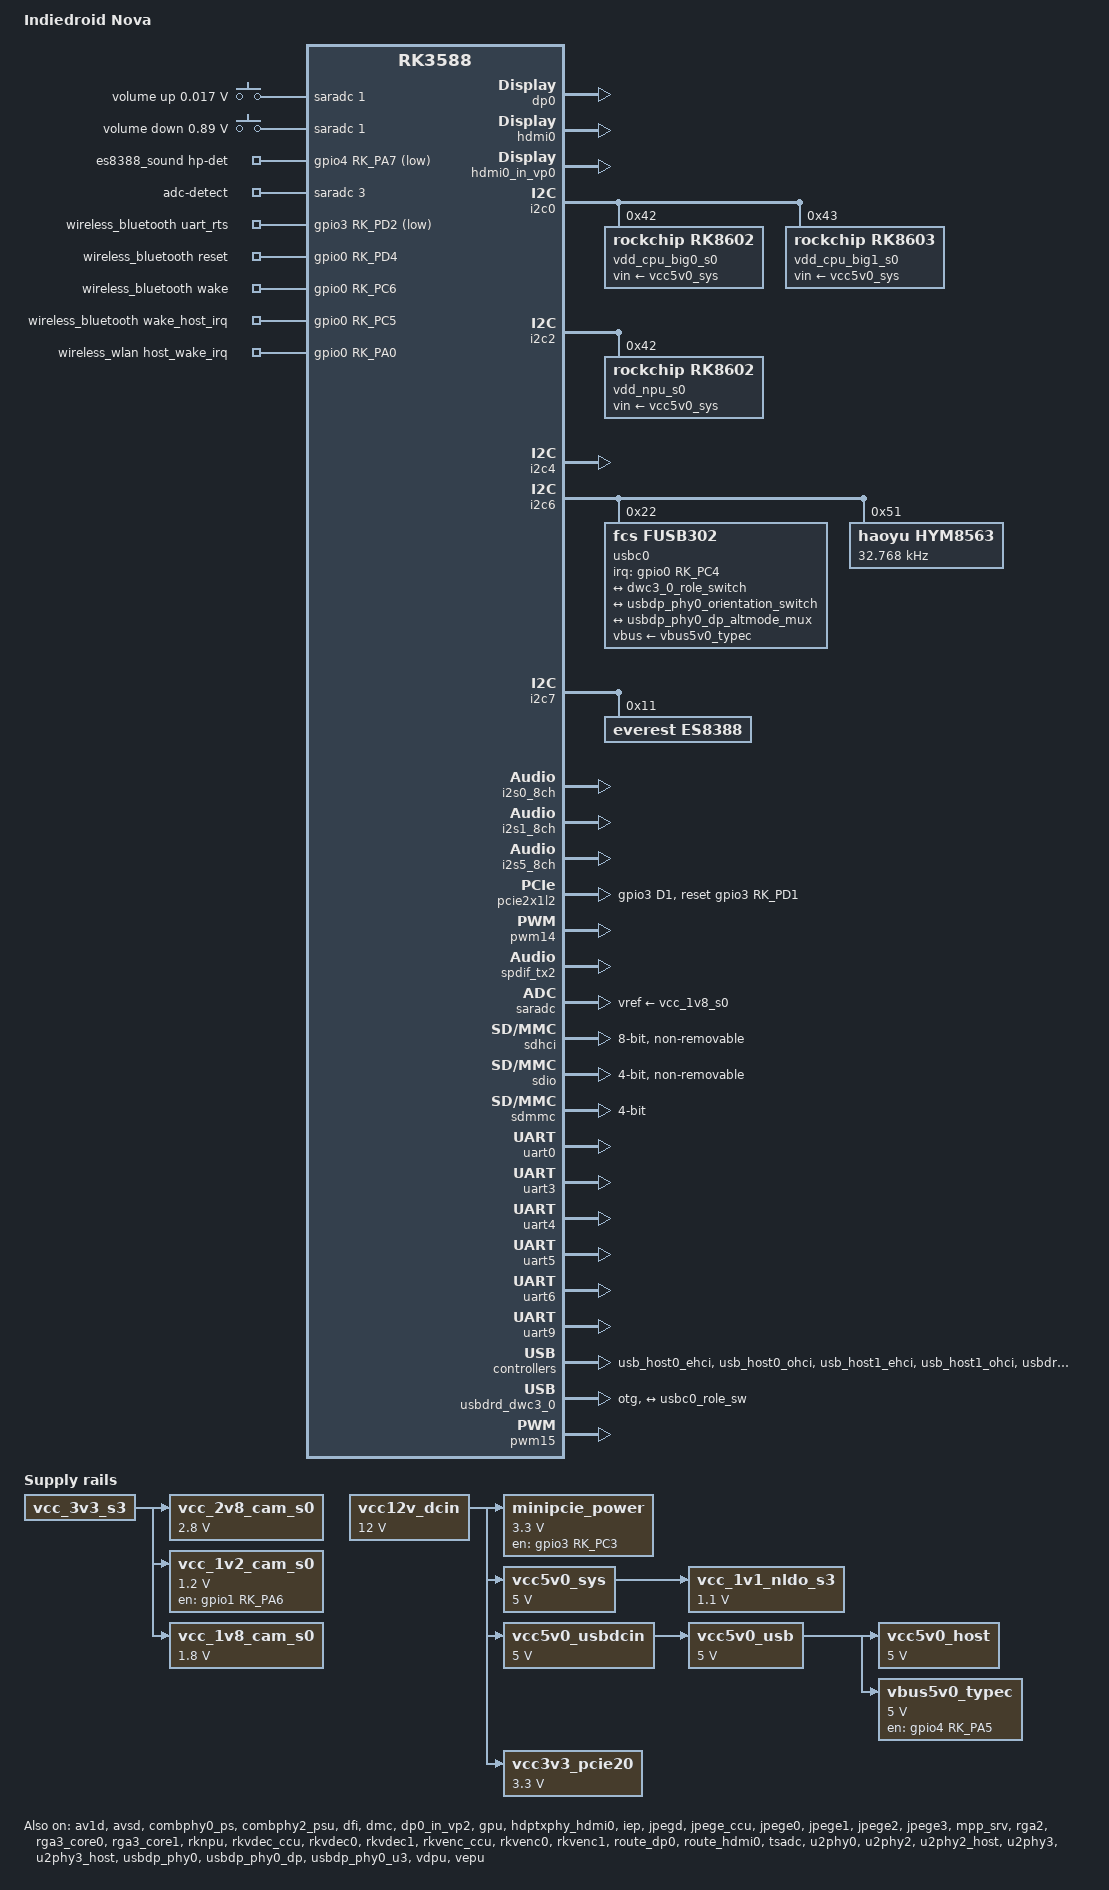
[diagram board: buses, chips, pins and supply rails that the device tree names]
// SPDX-License-Identifier: (GPL-2.0+ OR MIT)
/*
 * Copyright (c) 2021 Rockchip Electronics Co., Ltd.
 *
 */

/dts-v1/;

#include <dt-bindings/gpio/gpio.h>
#include <dt-bindings/pwm/pwm.h>
#include <dt-bindings/pinctrl/rockchip.h>
#include <dt-bindings/input/rk-input.h>
#include <dt-bindings/display/drm_mipi_dsi.h>
#include <dt-bindings/display/rockchip_vop.h>
#include <dt-bindings/sensor-dev.h>
#include "dt-bindings/usb/pd.h"
#include "rk3588s.dtsi"
#include "rk3588-rk806-single.dtsi"
#include "rk3588-linux.dtsi"

/ {
	model = "Indiedroid Nova";
	compatible = "9tripod,rk3588s", "rockchip,rk3588";

	/delete-node/ chosen;

	adc_keys: adc-keys {
		compatible = "adc-keys";
		io-channels = <&saradc 1>;
		io-channel-names = "buttons";
		keyup-threshold-microvolt = <1800000>;
		poll-interval = <100>;

		vol-up-key {
			label = "volume up";
			linux,code = <KEY_VOLUMEUP>;
			press-threshold-microvolt = <17000>;
		};

		vol-down-key {
			label = "volume down";
			linux,code = <KEY_VOLUMEDOWN>;
			press-threshold-microvolt = <890000>;
		};

	};

	es8388_sound: es8388-sound {
		status = "okay";
		compatible = "rockchip,multicodecs-card";
		rockchip,card-name = "rockchip-es8388";
		hp-det-gpio = <&gpio4 RK_PA7 GPIO_ACTIVE_LOW>;
		io-channels = <&saradc 3>;
		io-channel-names = "adc-detect";
		keyup-threshold-microvolt = <1800000>;
		poll-interval = <100>;
		//spk-con-gpio = <&gpio4 RK_PA5 GPIO_ACTIVE_HIGH>;
		//hp-con-gpio = <&gpio4 RK_PA4 GPIO_ACTIVE_HIGH>;
		rockchip,format = "i2s";
		rockchip,mclk-fs = <256>;
		rockchip,cpu = <&i2s0_8ch>;
		rockchip,codec = <&es8388>;
		rockchip,audio-routing =
			"Headphone", "LOUT2",
			"Headphone", "ROUT2",
			"Speaker", "LOUT1",
			"Speaker", "ROUT1",
			"Headphone", "Headphone Power",
			"Headphone", "Headphone Power",
			"Speaker", "Speaker Power",
			"Speaker", "Speaker Power",
			"LINPUT1", "Main Mic",
			"LINPUT2", "Main Mic",
			"RINPUT1", "Headset Mic",
			"RINPUT2", "Headset Mic";
		pinctrl-names = "default";
		pinctrl-0 = <&hp_det>;
		play-pause-key {
			label = "playpause";
			linux,code = <KEY_PLAYPAUSE>;
			press-threshold-microvolt = <2000>;
		};
	};

	hdmi0_sound: hdmi0-sound {
		status = "okay";
		compatible = "rockchip,hdmi";
		rockchip,mclk-fs = <128>;
		rockchip,card-name = "rockchip-hdmi0";
		rockchip,cpu = <&i2s5_8ch>;
		rockchip,codec = <&hdmi0>;
		rockchip,jack-det;
	};

	dp0_sound: dp0-sound {
		status = "okay";
		compatible = "rockchip,hdmi";
		rockchip,card-name= "rockchip-dp0";
		rockchip,mclk-fs = <512>;
		rockchip,cpu = <&spdif_tx2>;
		rockchip,codec = <&dp0 1>;
		rockchip,jack-det;
	};

	minipcie_power: minipcie-power {
		compatible = "regulator-fixed";
		regulator-name = "minipcie_power";
		regulator-min-microvolt = <3300000>;
		regulator-max-microvolt = <3300000>;
		enable-active-high;
		regulator-boot-on;
		regulator-always-on;
		gpios = <&gpio3 RK_PC3 GPIO_ACTIVE_HIGH>;
		vin-supply = <&vcc12v_dcin>;
	};

	test-power {
		status = "okay";
	};

	vcc12v_dcin: vcc12v-dcin {
		compatible = "regulator-fixed";
		regulator-name = "vcc12v_dcin";
		regulator-always-on;
		regulator-boot-on;
		regulator-min-microvolt = <12000000>;
		regulator-max-microvolt = <12000000>;
	};

	vcc5v0_host: vcc5v0-host {
		compatible = "regulator-fixed";
		regulator-name = "vcc5v0_host";
		regulator-boot-on;
		regulator-always-on;
		regulator-min-microvolt = <5000000>;
		regulator-max-microvolt = <5000000>;
		enable-active-high;
		//gpio = <&gpio1 RK_PB1 GPIO_ACTIVE_HIGH>;
		vin-supply = <&vcc5v0_usb>;
		//pinctrl-names = "default";
		//pinctrl-0 = <&vcc5v0_host_en>;
	};

	vcc5v0_sys: vcc5v0-sys {
		compatible = "regulator-fixed";
		regulator-name = "vcc5v0_sys";
		regulator-always-on;
		regulator-boot-on;
		regulator-min-microvolt = <5000000>;
		regulator-max-microvolt = <5000000>;
		vin-supply = <&vcc12v_dcin>;
	};

	vbus5v0_typec: vbus5v0-typec {
		compatible = "regulator-fixed";
		regulator-name = "vbus5v0_typec";
		regulator-min-microvolt = <5000000>;
		regulator-max-microvolt = <5000000>;
		enable-active-high;
		gpio = <&gpio4 RK_PA5 GPIO_ACTIVE_HIGH>;
		vin-supply = <&vcc5v0_usb>;
		pinctrl-names = "default";
		pinctrl-0 = <&typec5v_pwren>;
	};

	vcc5v0_usbdcin: vcc5v0-usbdcin {
		compatible = "regulator-fixed";
		regulator-name = "vcc5v0_usbdcin";
		regulator-always-on;
		regulator-boot-on;
		regulator-min-microvolt = <5000000>;
		regulator-max-microvolt = <5000000>;
		vin-supply = <&vcc12v_dcin>;
	};

	vcc5v0_usb: vcc5v0-usb {
		compatible = "regulator-fixed";
		regulator-name = "vcc5v0_usb";
		regulator-always-on;
		regulator-boot-on;
		regulator-min-microvolt = <5000000>;
		regulator-max-microvolt = <5000000>;
		vin-supply = <&vcc5v0_usbdcin>;
	};

	vcc3v3_pcie20: vcc3v3-pcie20 {
		compatible = "regulator-fixed";
		regulator-name = "vcc3v3_pcie20";
		regulator-min-microvolt = <3300000>;
		regulator-max-microvolt = <3300000>;
		enable-active-high;
		//gpios = <&gpio4 RK_PB1 GPIO_ACTIVE_HIGH>;
		startup-delay-us = <5000>;
		vin-supply = <&vcc12v_dcin>;
	};

	vcc_2v8_cam_s0: vcc-2v8-cam-s0 {
		compatible = "regulator-fixed";
		regulator-name = "vcc_2v8_cam_s0";
		regulator-min-microvolt = <2800000>;
		regulator-max-microvolt = <2800000>;
		vin-supply = <&vcc_3v3_s3>;
	};

	vcc_1v1_nldo_s3: vcc-1v1-nldo-s3 {
		compatible = "regulator-fixed";
		regulator-name = "vcc_1v1_nldo_s3";
		regulator-always-on;
		regulator-boot-on;
		regulator-min-microvolt = <1100000>;
		regulator-max-microvolt = <1100000>;
		vin-supply = <&vcc5v0_sys>;
	};

	vcc_1v2_cam_s0: vcc-1v2-cam-s0 {
		compatible = "regulator-fixed";
		regulator-name = "vcc_1v2_cam_s0";
		regulator-min-microvolt = <1200000>;
		regulator-max-microvolt = <1200000>;
		gpios = <&gpio1 RK_PA6 GPIO_ACTIVE_HIGH>;
		enable-active-high;
		vin-supply = <&vcc_3v3_s3>;
		regulator-state-mem {
			regulator-off-in-suspend;
		};
	};

	vcc_1v8_cam_s0: vcc-1v8-cam-s0 {
		compatible = "regulator-fixed";
		regulator-name = "vcc_1v8_cam_s0";
		regulator-min-microvolt = <1800000>;
		regulator-max-microvolt = <1800000>;
		vin-supply = <&vcc_3v3_s3>;
	};

// ANDROID
//	sdio_pwrseq: sdio-pwrseq {
//		compatible = "mmc-pwrseq-simple";
//		clocks = <&hym8563>;
//		clock-names = "ext_clock";
//		pinctrl-names = "default";
//		pinctrl-0 = <&wifi_enable_h>;
//		/*
//		 * On the module itself this is one of these (depending
//		 * on the actual card populated):
//		 * - SDIO_RESET_L_WL_REG_ON
//		 * - PDN (power down when low)
//		 */
//		post-power-on-delay-ms = <200>;
//		reset-gpios = <&gpio0 RK_PC7 GPIO_ACTIVE_LOW>;
//	};

	wireless_bluetooth: wireless-bluetooth {
		compatible = "bluetooth-platdata";
		clocks = <&hym8563>;
		clock-names = "ext_clock";
		uart_rts_gpios = <&gpio3 RK_PD2 GPIO_ACTIVE_LOW>;
		pinctrl-names = "default", "rts_gpio";
		pinctrl-0 = <&uart9m2_rtsn>, <&bt_reset_gpio>, <&bt_wake_gpio>, <&bt_wake_host_irq>;
		pinctrl-1 = <&uart9_gpios>;
		BT,reset_gpio    = <&gpio0 RK_PD4 GPIO_ACTIVE_HIGH>;
		BT,wake_gpio     = <&gpio0 RK_PC6 GPIO_ACTIVE_HIGH>;
		BT,wake_host_irq = <&gpio0 RK_PC5 GPIO_ACTIVE_HIGH>;
		status = "okay";
	};

	wireless_wlan: wireless-wlan {
		compatible = "wlan-platdata";
		wifi_chip_type = "rtl8821cs";
		pinctrl-names = "default";
		pinctrl-0 = <&wifi_host_wake_irq>, <&wifi_poweren_gpio>;
		WIFI,host_wake_irq = <&gpio0 RK_PA0 GPIO_ACTIVE_HIGH>;
		rockchip,grf = <&sys_grf>;
		status = "okay";
	};
};

&av1d {
	status = "okay";
};

&av1d_mmu {
	status = "okay";
};

&avsd {
	status = "okay";
};

&combphy0_ps {
	status = "okay";
};

&combphy2_psu {
	status = "okay";
};

&cpu_l0 {
	cpu-supply = <&vdd_cpu_lit_s0>;
	mem-supply = <&vdd_cpu_lit_mem_s0>;
};

&cpu_b0 {
	cpu-supply = <&vdd_cpu_big0_s0>;
	mem-supply = <&vdd_cpu_big0_mem_s0>;
};

&cpu_b2 {
	cpu-supply = <&vdd_cpu_big1_s0>;
	mem-supply = <&vdd_cpu_big1_mem_s0>;
};

&dfi {
	status = "okay";
};

&display_subsystem {
    clocks = <&hdptxphy_hdmi0>;
    clock-names = "hdmi0_phy_pll";
};

&dmc {
	center-supply = <&vdd_ddr_s0>;
	mem-supply = <&vdd_log_s0>;
	status = "okay";
};

&dp0 {
	//pinctrl-names = "default";
	//pinctrl-0 = <&dp0_hpd>;
	//hpd-gpios = <&gpio1 RK_PD5 GPIO_ACTIVE_HIGH>;
	status = "okay";
};

&dp0_in_vp2 {
	status = "okay";
};

&gpu {
	mali-supply = <&vdd_gpu_s0>;
	mem-supply = <&vdd_gpu_mem_s0>;
	status = "okay";
};

&hdmi0 {
        enable-gpios = <&gpio4 RK_PB6 GPIO_ACTIVE_HIGH>;
        status = "okay";
        cec-enable = "true";
};

&hdmi0_in_vp0 {
	status = "okay";
};

&hdptxphy_hdmi0 {
        status = "okay";
};

&i2c0 {
	status = "okay";
	pinctrl-names = "default";
	pinctrl-0 = <&i2c0m2_xfer>;

	vdd_cpu_big0_s0: vdd_cpu_big0_mem_s0: rk8602@42 {
		compatible = "rockchip,rk8602";
		reg = <0x42>;
		vin-supply = <&vcc5v0_sys>;
		regulator-compatible = "rk860x-reg";
		regulator-name = "vdd_cpu_big0_s0";
		regulator-min-microvolt = <550000>;
		regulator-max-microvolt = <1050000>;
		regulator-ramp-delay = <2300>;
		rockchip,suspend-voltage-selector = <1>;
		regulator-boot-on;
		regulator-always-on;
		regulator-state-mem {
			regulator-off-in-suspend;
		};
	};

	vdd_cpu_big1_s0: vdd_cpu_big1_mem_s0: rk8603@43 {
		compatible = "rockchip,rk8603";
		reg = <0x43>;
		vin-supply = <&vcc5v0_sys>;
		regulator-compatible = "rk860x-reg";
		regulator-name = "vdd_cpu_big1_s0";
		regulator-min-microvolt = <550000>;
		regulator-max-microvolt = <1050000>;
		regulator-ramp-delay = <2300>;
		rockchip,suspend-voltage-selector = <1>;
		regulator-boot-on;
		regulator-always-on;
		regulator-state-mem {
			regulator-off-in-suspend;
		};
	};
};

&i2c2 {
	status = "okay";

	vdd_npu_s0: vdd_npu_mem_s0: rk8602@42 {
		compatible = "rockchip,rk8602";
		reg = <0x42>;
		vin-supply = <&vcc5v0_sys>;
		regulator-compatible = "rk860x-reg";
		regulator-name = "vdd_npu_s0";
		regulator-min-microvolt = <550000>;
		regulator-max-microvolt = <950000>;
		regulator-ramp-delay = <2300>;
		rockchip,suspend-voltage-selector = <1>;
		regulator-boot-on;
		regulator-always-on;
		regulator-state-mem {
			regulator-off-in-suspend;
		};
	};
};

&i2c4 {
	status = "okay";
	pinctrl-names = "default";
	pinctrl-0 = <&i2c4m3_xfer>;
};

&i2c6 {
	status = "okay";
	pinctrl-names = "default";
	pinctrl-0 = <&i2c6m3_xfer>;

	usbc0: fusb302@22 {
		compatible = "fcs,fusb302";
		reg = <0x22>;
		interrupt-parent = <&gpio0>;
		interrupts = <RK_PC4 IRQ_TYPE_LEVEL_LOW>;
		pinctrl-names = "default";
		pinctrl-0 = <&usbc0_int>;
		vbus-supply = <&vbus5v0_typec>;
		status = "okay";

		ports {
			#address-cells = <1>;
			#size-cells = <0>;

			port@0 {
				reg = <0>;
				usbc0_role_sw: endpoint@0 {
					remote-endpoint = <&dwc3_0_role_switch>;
				};
			};
		};

		usb_con: connector {
			compatible = "usb-c-connector";
			label = "USB-C";
			data-role = "dual";
			power-role = "dual";
			try-power-role = "sink";
			op-sink-microwatt = <1000000>;
			sink-pdos =
				<PDO_FIXED(5000, 1000, PDO_FIXED_USB_COMM)>;
			source-pdos =
				<PDO_FIXED(5000, 3000, PDO_FIXED_USB_COMM)>;

			altmodes {
				#address-cells = <1>;
				#size-cells = <0>;

				altmode@0 {
					reg = <0>;
					svid = <0xff01>;
					vdo = <0xffffffff>;
				};
			};

			ports {
				#address-cells = <1>;
				#size-cells = <0>;

				port@0 {
					reg = <0>;
					usbc0_orien_sw: endpoint {
						remote-endpoint = <&usbdp_phy0_orientation_switch>;
					};
				};

				port@1 {
					reg = <1>;
					dp_altmode_mux: endpoint {
						remote-endpoint = <&usbdp_phy0_dp_altmode_mux>;
					};
				};
			};
		};
	};

	hym8563: hym8563@51 {
		compatible = "haoyu,hym8563";
		reg = <0x51>;
		#clock-cells = <0>;
		clock-frequency = <32768>;
		clock-output-names = "hym8563";
		//pinctrl-names = "default";
		//pinctrl-0 = <&hym8563_int>;
		//interrupt-parent = <&gpio0>;
		//interrupts = <RK_PB0 IRQ_TYPE_LEVEL_LOW>;
		//wakeup-source;
		status = "okay";
	};
};

&i2c7 {
	status = "okay";
	pinctrl-names = "default";
	pinctrl-0 = <&i2c7m0_xfer>;

	es8388: es8388@11 {
		status = "okay";
		#sound-dai-cells = <0>;
		compatible = "everest,es8388", "everest,es8323";
		reg = <0x11>;
		clocks = <&mclkout_i2s0>;
		clock-names = "mclk";
		pinctrl-names = "default";
		pinctrl-0 = <&i2s0_mclk>;
	};
};

// ES8388 Sound
&i2s0_8ch {
	status = "okay";
	pinctrl-0 = <&i2s0_lrck
		     &i2s0_sclk
		     &i2s0_sdi0
		     &i2s0_sdo0>;
};

&i2s1_8ch {
	status = "okay";
	rockchip,i2s-tx-route = <3 2 1 0>;
	rockchip,i2s-rx-route = <1 3 2 0>;
	pinctrl-names = "default";
	pinctrl-0 = <&i2s1m0_sclk
	             &i2s1m0_lrck
	             &i2s1m0_sdi1
	             &i2s1m0_sdo3>;
};

&i2s5_8ch {
	status = "okay";
};

&iep {
	status = "okay";
};

&iep_mmu {
	status = "okay";
};

&jpegd {
	status = "okay";
};

&jpegd_mmu {
	status = "okay";
};

&jpege_ccu {
	status = "okay";
};

&jpege0 {
	status = "okay";
};

&jpege0_mmu {
	status = "okay";
};

&jpege1 {
	status = "okay";
};

&jpege1_mmu {
	status = "okay";
};

&jpege2 {
	status = "okay";
};

&jpege2_mmu {
	status = "okay";
};

&jpege3 {
	status = "okay";
};

&jpege3_mmu {
	status = "okay";
};

&mpp_srv {
	status = "okay";
};

// PCIE 
&pcie2x1l2 {
	reset-gpios = <&gpio3 RK_PD1 GPIO_ACTIVE_HIGH>;
	rockchip,skip-scan-in-resume;
	pinctrl-names = "default";
	pinctrl-0 = <&rtl8111_isolate>;
	status = "okay";
};

&pinctrl {
	dp {
		dp0_hpd: dp0-hpd {
			rockchip,pins = <1 RK_PD5 RK_FUNC_GPIO &pcfg_pull_none>;
		};
	};

	headphone {
		hp_det: hp-det {
			rockchip,pins = <4 RK_PA7 RK_FUNC_GPIO &pcfg_pull_none>;
		};
	};

	hym8563 {
		hym8563_int: hym8563-int {
			rockchip,pins = <0 RK_PB0 RK_FUNC_GPIO &pcfg_pull_up>;
		};
	};

	rtl8111 {
		rtl8111_isolate: rtl8111-isolate {
			rockchip,pins = <3 RK_PD1 RK_FUNC_GPIO &pcfg_pull_up>;
		};
	};

// ANDROID
//	sdio-pwrseq {
//		wifi_enable_h: wifi-enable-h {
//			rockchip,pins = <0 RK_PC7 RK_FUNC_GPIO &pcfg_pull_up>;
//		};
//	};



	usb {
		//vcc5v0_host_en: vcc5v0-host-en {
		//	rockchip,pins = <1 RK_PB1 RK_FUNC_GPIO &pcfg_pull_none>;
		//};
	};

	usb-typec {
		usbc0_int: usbc0-int {
			rockchip,pins = <0 RK_PC4 RK_FUNC_GPIO &pcfg_pull_up>;
		};

		typec5v_pwren: typec5v-pwren {
			rockchip,pins = <4 RK_PA5 RK_FUNC_GPIO &pcfg_pull_none>;
		};
	};

	wireless-bluetooth {
		bt_reset_gpio: bt-reset-gpio {
			rockchip,pins = <0 RK_PD4 RK_FUNC_GPIO &pcfg_pull_none>;
		};

		bt_wake_gpio: bt-wake-gpio {
			rockchip,pins = <0 RK_PC6 RK_FUNC_GPIO &pcfg_pull_none>;
		};

		bt_wake_host_irq: bt-wake-host-irq {
			rockchip,pins = <0 RK_PC5 RK_FUNC_GPIO &pcfg_pull_down>;
		};

		uart9_gpios: uart9-gpios {
			rockchip,pins = <3 RK_PD2 RK_FUNC_GPIO &pcfg_pull_none>;
		};
	};

	wireless-wlan {
		wifi_host_wake_irq: wifi-host-wake-irq {
			rockchip,pins = <0 RK_PA0 RK_FUNC_GPIO &pcfg_pull_down>;
		};
		
		wifi_poweren_gpio: wifi-poweren-gpio {
			rockchip,pins = <0 RK_PC7 RK_FUNC_GPIO &pcfg_pull_up>;
		};
	};
};

&pwm14 {
	status = "okay";
	pinctrl-names = "active";
	pinctrl-0 = <&pwm14m1_pins>;
};

&rga2 {
	status = "okay";
};

&rga3_core0 {
	status = "okay";
};

&rga3_0_mmu {
	status = "okay";
};

&rga3_core1 {
	status = "okay";
};

&rga3_1_mmu {
	status = "okay";
};

&rknpu {
	rknpu-supply = <&vdd_npu_s0>;
	mem-supply = <&vdd_npu_mem_s0>;
	status = "okay";
};

&rknpu_mmu {
	status = "okay";
};

&rkvdec_ccu {
	status = "okay";
};

&rkvdec0 {
	status = "okay";
};

&rkvdec0_mmu {
	status = "okay";
};

&rkvdec1 {
	status = "okay";
};

&rkvdec1_mmu {
	status = "okay";
};

&rkvenc_ccu {
	status = "okay";
};

&rkvenc0 {
	status = "okay";
};

&rkvenc0_mmu {
	status = "okay";
};

&rkvenc1 {
	status = "okay";
};

&rkvenc1_mmu {
	status = "okay";
};

&rockchip_suspend {
	status = "okay";
	rockchip,sleep-debug-en = <1>;
};

&route_dp0 {
	status = "okay";
	connect = <&vp2_out_dp0>;
};

&spdif_tx2 {
	status = "okay";
};

&route_hdmi0{
        status = "okay";
};

&saradc {
	status = "okay";
	vref-supply = <&vcc_1v8_s0>;
};

// EMMC
&sdhci {
	bus-width = <8>;
	no-sdio;
	no-sd;
	non-removable;
	max-frequency = <200000000>;
	mmc-hs400-1_8v;
	mmc-hs400-enhanced-strobe;
	status = "okay";
};

// WLAN
&sdio {
	max-frequency = <100000000>;
	no-sd;
	no-mmc;
	bus-width = <4>;
	disable-wp;
	cap-sd-highspeed;
	cap-sdio-irq;
	keep-power-in-suspend;
	// mmc-pwrseq = <&sdio_pwrseq>; //ANDROID
	non-removable;
	pinctrl-names = "default";
	pinctrl-0 = <&sdiom1_pins>;
	// sd-uhs-sdr104; // commented out for sd card stability
	status = "okay";
};

// SD
&sdmmc {
	max-frequency = <150000000>;
	no-sdio;
	no-mmc;
	bus-width = <4>;
	cap-mmc-highspeed;
	cap-sd-highspeed;
	disable-wp;
	sd-uhs-sdr104;
	//vmmc-supply = <&vcc_3v3_sd_s0>;
	vqmmc-supply = <&vccio_sd_s0>;
	status = "okay";
};

&spi2 {
	pinctrl-names = "default";
	pinctrl-0 = <&spi2m2_cs0 &spi2m2_pins>;
	num-cs = <1>;
};

&tsadc {
	status = "okay";
};

&uart0 {
	status = "okay";
	pinctrl-names = "default";
	pinctrl-0 = <&uart0m2_xfer>;
};

&uart3 {
	status = "okay";
	pinctrl-names = "default";
	pinctrl-0 = <&uart3m0_xfer>;
};

&uart4 {
	status = "okay";
	pinctrl-names = "default";
	pinctrl-0 = <&uart4m0_xfer>;
};

&uart5 {
	status = "okay";
	pinctrl-names = "default";
	pinctrl-0 = <&uart5m1_xfer>;
};

&uart6 {
	status = "okay";
	pinctrl-names = "default";
	pinctrl-0 = <&uart6m1_xfer>;
};

&uart7 {
	status = "disabled";
	pinctrl-names = "default";
	pinctrl-0 = <&uart7m2_xfer>;
};

// BT UART
&uart9 {
	status = "okay";
	pinctrl-names = "default";
	pinctrl-0 = <&uart9m2_xfer &uart9m2_ctsn>;
};

&u2phy0 {
	status = "okay";
};

&u2phy0_otg {
	rockchip,typec-vbus-det;
};

&u2phy2 {
	status = "okay";
	rockchip,typec-vbus-det;
};

&u2phy2_host {
	status = "okay";
};

&u2phy3 {
	status = "okay";
};

&u2phy3_host {
	status = "okay";
};

&usb_host0_ehci {
	status = "okay";
};

&usb_host0_ohci {
	status = "okay";
};

&usb_host1_ehci {
	status = "okay";
};

&usb_host1_ohci {
	status = "okay";
};

// #USB3.1/DP PHY0
&usbdp_phy0 {
    status = "okay";
	orientation-switch;
	svid = <0xff01>;
	sbu1-dc-gpios = <&gpio4 RK_PA0 GPIO_ACTIVE_HIGH>;
	sbu2-dc-gpios = <&gpio4 RK_PA1 GPIO_ACTIVE_HIGH>;
	rockchip,dp-lane-mux = <2 3>;

	port {
		#address-cells = <1>;
		#size-cells = <0>;
		usbdp_phy0_orientation_switch: endpoint@0 {
			reg = <0>;
			remote-endpoint = <&usbc0_orien_sw>;
		};

		usbdp_phy0_dp_altmode_mux: endpoint@1 {
			reg = <1>;
			remote-endpoint = <&dp_altmode_mux>;
		};
	};
};

&usbdp_phy0_dp {
	status = "okay";
};

&usbdp_phy0_u3 {
	status = "okay";
};

&usbdrd3_0 {
	status = "okay";
};

&usbdrd_dwc3_0 {
	dr_mode = "otg";
    status = "okay";
	usb-role-switch;
	port {
		#address-cells = <1>;
		#size-cells = <0>;
		dwc3_0_role_switch: endpoint@0 {
			reg = <0>;
			remote-endpoint = <&usbc0_role_sw>;
		};
	};
};

&usbhost3_0 {
	status = "okay";
};

&usbhost_dwc3_0 {
	status = "okay";
};

&vdpu {
	status = "okay";
};

&vdpu_mmu {
	status = "okay";
};

&vepu {
	status = "okay";
};

&vop {
	status = "okay";
	disable-win-move;
};

&vop_mmu {
	status = "okay";
};

/* vp0 & vp1 splice for 8K output */
&vp0 {
	rockchip,plane-mask = <(1 << ROCKCHIP_VOP2_CLUSTER0 | 1 << ROCKCHIP_VOP2_ESMART0)>;
	rockchip,primary-plane = <ROCKCHIP_VOP2_CLUSTER0>;
	cursor-win-id = <ROCKCHIP_VOP2_ESMART0>;
};

&vp1 {
	rockchip,plane-mask = <(1 << ROCKCHIP_VOP2_CLUSTER1 | 1 << ROCKCHIP_VOP2_ESMART1)>;
	rockchip,primary-plane = <ROCKCHIP_VOP2_CLUSTER1>;
	cursor-win-id = <ROCKCHIP_VOP2_ESMART1>;
};

&vp2 {
	rockchip,plane-mask = <(1 << ROCKCHIP_VOP2_CLUSTER2 | 1 << ROCKCHIP_VOP2_ESMART2)>;
	rockchip,primary-plane = <ROCKCHIP_VOP2_CLUSTER2>;
	cursor-win-id = <ROCKCHIP_VOP2_ESMART2>;
};

&vp3 {
	rockchip,plane-mask = <(1 << ROCKCHIP_VOP2_CLUSTER3 | 1 << ROCKCHIP_VOP2_ESMART3)>;
	rockchip,primary-plane = <ROCKCHIP_VOP2_CLUSTER3>;
	cursor-win-id = <ROCKCHIP_VOP2_ESMART3>;
};

/* pin 40 pwm fan control */
&pwm15 {
        pinctrl-0 = <&pwm15m1_pins>;
        status = "okay";
};
